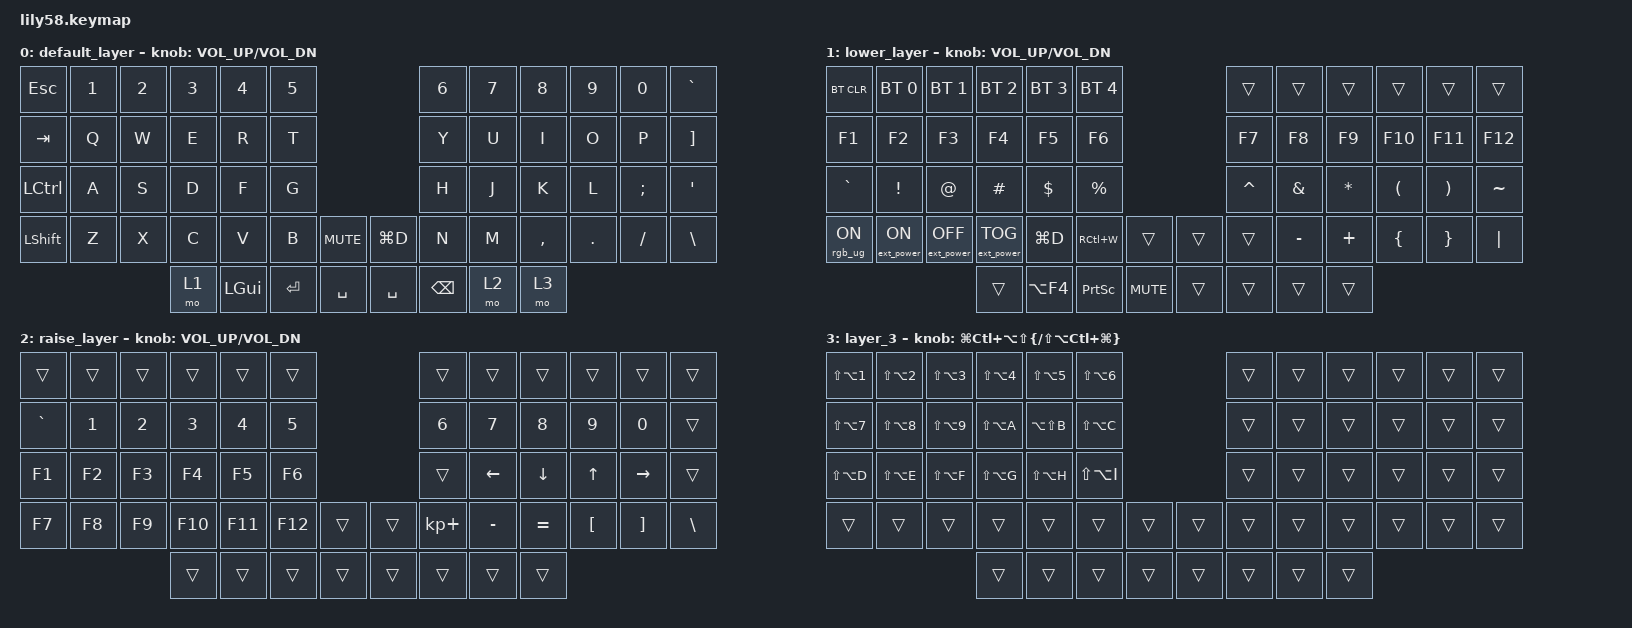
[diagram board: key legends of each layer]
/*
 * Copyright (c) 2020 The ZMK Contributors
 *
 * SPDX-License-Identifier: MIT
 */

#include <behaviors.dtsi>
#include <dt-bindings/zmk/bt.h>
#include <dt-bindings/zmk/ext_power.h>
#include <dt-bindings/zmk/keys.h>
#include <dt-bindings/zmk/rgb.h>

/ {
    macros {
        screenshot: screenshot {
            compatible = "zmk,behavior-macro";
            #binding-cells = <0>;
            bindings = <&kp LEFT_WIN &kp LEFT_SHIFT &kp S>;
            label = "SCREENSHOT";
        };
    };

    keymap {
        compatible = "zmk,keymap";

        default_layer {
            // ------------------------------------------------------------------------------------------------------------
            // |  ESC  |  1  |  2  |  3   |  4   |  5   |                   |  6   |  7    |  8    |  9   |   0   |   `   |
            // |  TAB  |  Q  |  W  |  E   |  R   |  T   |                   |  Y   |  U    |  I    |  O   |   P   |   -   |
            // |  CTRL |  A  |  S  |  D   |  F   |  G   |                   |  H   |  J    |  K    |  L   |   ;   |   '   |
            // | SHIFT |  Z  |  X  |  C   |  V   |  B   |   "["  |  |  "]"  |  N   |  M    |  ,    |  .   |   /   | SHIFT |
            //                     | ALT  | GUI  | LOWER|  SPACE |  | ENTER | RAISE| BSPC  | GUI   |

            bindings = <
&kp ESC    &kp N1  &kp N2  &kp N3  &kp N4    &kp N5                              &kp N6         &kp N7  &kp N8     &kp N9   &kp N0    &kp GRAVE
&kp TAB    &kp Q   &kp W   &kp E   &kp R     &kp T                               &kp Y          &kp U   &kp I      &kp O    &kp P     &kp RIGHT_BRACKET
&kp LCTRL  &kp A   &kp S   &kp D   &kp F     &kp G                               &kp H          &kp J   &kp K      &kp L    &kp SEMI  &kp SQT
&kp LSHFT  &kp Z   &kp X   &kp C   &kp V     &kp B      &kp K_MUTE    &kp LG(D)  &kp N          &kp M   &kp COMMA  &kp DOT  &kp FSLH  &kp BACKSLASH
                           &mo 1   &kp LGUI  &kp ENTER  &kp SPACE     &kp SPACE  &kp BACKSPACE  &mo 2   &mo 3
            >;

            sensor-bindings = <&inc_dec_kp C_VOL_UP C_VOL_DN>;
        };

        lower_layer {
            // ------------------------------------------------------------------------------------------------------------
            // | BTCLR | BT1 | BT2 |  BT3 |  BT4 |  BT5 |                   |      |       |       |      |       |       |
            // |  F1   |  F2 |  F3 |  F4  |  F5  |  F6  |                   |  F7  |  F8   |  F9   |  F10 |  F11  |  F12  |
            // |   `   |  !  |  @  |  #   |  $   |  %   |                   |  ^   |  &    |  *    |  (   |   )   |   ~   |
            // |       |     |     |      |      |      |        |  |       |      |  _    |  +    |  {   |   }   |  "|"  |
            //                     |      |      |      |        |  |       |      |       |       |

            bindings = <
&bt BT_CLR      &bt BT_SEL 0      &bt BT_SEL 1       &bt BT_SEL 2       &bt BT_SEL 3  &bt BT_SEL 4                           &trans     &trans     &trans     &trans    &trans    &trans
&kp F1          &kp F2            &kp F3             &kp F4             &kp F5        &kp F6                                 &kp F7     &kp F8     &kp F9     &kp F10   &kp F11   &kp F12
&kp GRAVE       &kp EXCL          &kp AT             &kp HASH           &kp DOLLAR    &kp PRCNT                              &kp CARET  &kp AMPS   &kp ASTRK  &kp LPAR  &kp RPAR  &kp TILDE
&rgb_ug RGB_ON  &ext_power EP_ON  &ext_power EP_OFF  &ext_power EP_TOG  &kp LG(D)     &kp RC(W)        &trans        &trans  &trans     &kp MINUS  &kp PLUS   &kp LBRC  &kp RBRC  &kp PIPE
                                                     &trans             &kp LA(F4)    &kp PRINTSCREEN  &kp K_MUTE    &trans  &trans     &trans     &trans
            >;

            sensor-bindings = <&inc_dec_kp C_VOL_UP C_VOL_DN>;
        };

        raise_layer {
            // ------------------------------------------------------------------------------------------------------------
            // |       |     |     |      |      |      |                   |      |       |       |      |       |       |
            // |   `   |  1  |  2  |  3   |  4   |  5   |                   |  6   |   7   |   8   |  9   |   0   |       |
            // |   F1  |  F2 |  F3 |  F4  |  F5  |  F6  |                   |      |   <-  |   v   |  ^   |  ->   |       |
            // |   F7  |  F8 |  F9 |  F10 |  F11 |  F12 |        |  |       |  +   |   -   |   =   |  [   |   ]   |   \   |
            //                     |      |      |      |        |  |       |      |       |       |

            bindings = <
&trans     &trans  &trans  &trans   &trans   &trans                     &trans       &trans     &trans     &trans    &trans     &trans
&kp GRAVE  &kp N1  &kp N2  &kp N3   &kp N4   &kp N5                     &kp N6       &kp N7     &kp N8     &kp N9    &kp N0     &trans
&kp F1     &kp F2  &kp F3  &kp F4   &kp F5   &kp F6                     &trans       &kp LEFT   &kp DOWN   &kp UP    &kp RIGHT  &trans
&kp F7     &kp F8  &kp F9  &kp F10  &kp F11  &kp F12  &trans    &trans  &kp KP_PLUS  &kp MINUS  &kp EQUAL  &kp LBKT  &kp RBKT   &kp BSLH
                           &trans   &trans   &trans   &trans    &trans  &trans       &trans     &trans
            >;

            sensor-bindings = <&inc_dec_kp C_VOL_UP C_VOL_DN>;
        };

        layer_3 {
            bindings = <
&kp LS(LA(NUMBER_1))  &kp LS(LA(NUMBER_2))  &kp LS(LA(NUMBER_3))  &kp LS(LA(NUMBER_4))  &kp LS(LA(N5))  &kp LS(LA(NUMBER_6))                    &trans  &trans  &trans  &trans  &trans  &trans
&kp LS(LA(N7))        &kp LS(LA(N8))        &kp LS(LA(N9))        &kp LS(LA(A))         &kp LA(LS(B))   &kp LS(LA(C))                           &trans  &trans  &trans  &trans  &trans  &trans
&kp LS(LA(D))         &kp LS(LA(E))         &kp LS(LA(F))         &kp LS(LA(G))         &kp LS(LA(H))   &kp LS(LA(I))                           &trans  &trans  &trans  &trans  &trans  &trans
&trans                &trans                &trans                &trans                &trans          &trans                &trans    &trans  &trans  &trans  &trans  &trans  &trans  &trans
                                                                  &trans                &trans          &trans                &trans    &trans  &trans  &trans  &trans
            >;

            sensor-bindings = <&inc_dec_kp LG(LC(LA(LS(LEFT_BRACE)))) LS(LA(LC(LG(RIGHT_BRACE))))>;
        };
    };
};
